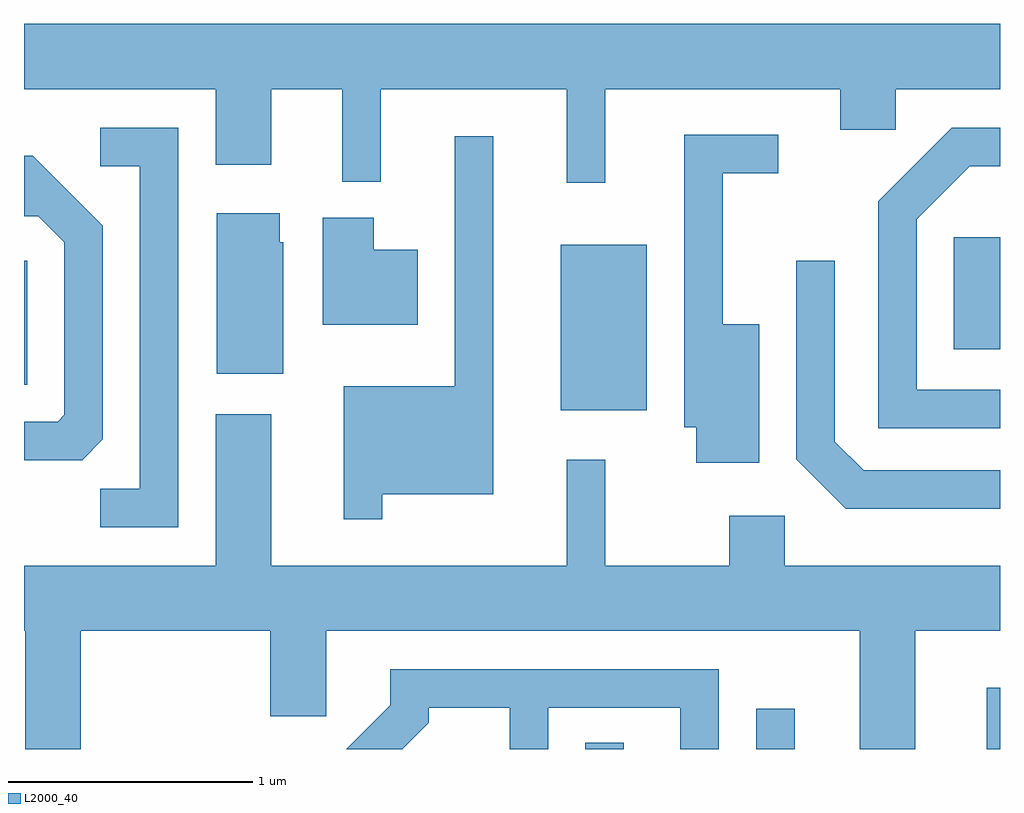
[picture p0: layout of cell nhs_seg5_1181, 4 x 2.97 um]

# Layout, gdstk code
import gdstk
lib = gdstk.Library(unit=1e-6, precision=1e-09)
def R(c, l, rs):  # rectangles x0, y0, x1, y1
    for r in rs: c.add(gdstk.rectangle(r[:2], r[2:], *l))
def P(c, l, *ps):  # polygons
    for p in ps: c.add(gdstk.Polygon(p, *l))
L2000_40 = (2000, 40)

nhs_seg5_1181 = lib.new_cell('nhs_seg5_1181')
R(nhs_seg5_1181, L2000_40, [(221.911,1474.072,222.069,1474.098), (222.611,1474.072,222.769,1474.238), (223.556,1474.072,223.611,1474.324), (221.811,1475.461,222.164,1476.139), (219.611,1475.566,219.624,1476.073), (223.421,1475.711,223.611,1476.169)])
P(nhs_seg5_1181, L2000_40, [(221.994,1476.776),(222.956,1476.776),(222.956,1476.611),(223.184,1476.611),(223.184,1476.776),(223.611,1476.776),(223.611,1477.044),(219.611,1477.044),(219.611,1476.776),(220.396,1476.776),(220.396,1476.466),(220.624,1476.466),(220.624,1476.776),(220.916,1476.776),(220.916,1476.398),(221.074,1476.398),(221.074,1476.776),(221.836,1476.776),(221.836,1476.393),(221.994,1476.393)],
  [(223.611,1475.544),(223.269,1475.544),(223.269,1476.244),(223.487,1476.461),(223.611,1476.461),(223.611,1476.619),(223.414,1476.619),(223.111,1476.317),(223.111,1475.386),(223.611,1475.386)],
  [(220.244,1476.619),(219.923,1476.619),(219.923,1476.461),(220.086,1476.461),(220.086,1475.139),(219.923,1475.139),(219.923,1474.981),(220.244,1474.981)],
  [(222.624,1475.814),(222.474,1475.814),(222.474,1476.431),(222.703,1476.431),(222.703,1476.589),(222.316,1476.589),(222.316,1475.391),(222.366,1475.391),(222.366,1475.246),(222.624,1475.246)],
  [(221.079,1475.116),(221.534,1475.116),(221.534,1476.583),(221.376,1476.583),(221.376,1475.559),(220.921,1475.559),(220.921,1475.013),(221.079,1475.013)],
  [(219.934,1475.342),(219.934,1476.217),(219.647,1476.504),(219.611,1476.504),(219.611,1476.256),(219.669,1476.256),(219.776,1476.149),(219.776,1475.442),(219.749,1475.414),(219.611,1475.414),(219.611,1475.256),(219.849,1475.256)],
  [(220.674,1476.15),(220.659,1476.15),(220.659,1476.269),(220.401,1476.269),(220.401,1475.611),(220.674,1475.611)],
  [(221.224,1476.119),(221.044,1476.119),(221.044,1476.249),(220.836,1476.249),(220.836,1475.811),(221.224,1475.811)],
  [(223.611,1475.214),(223.052,1475.214),(222.934,1475.332),(222.934,1476.073),(222.776,1476.073),(222.776,1475.259),(222.979,1475.056),(223.611,1475.056)],
  [(219.844,1474.556),(220.621,1474.556),(220.621,1474.206),(220.849,1474.206),(220.849,1474.556),(223.036,1474.556),(223.036,1474.072),(223.264,1474.072),(223.264,1474.556),(223.611,1474.556),(223.611,1474.824),(222.729,1474.824),(222.729,1475.029),(222.501,1475.029),(222.501,1474.824),(221.994,1474.824),(221.994,1475.258),(221.836,1475.258),(221.836,1474.824),(220.624,1474.824),(220.624,1475.444),(220.396,1475.444),(220.396,1474.824),(219.611,1474.824),(219.611,1474.556),(219.616,1474.556),(219.616,1474.072),(219.844,1474.072)],
  [(221.269,1474.179),(221.269,1474.241),(221.601,1474.241),(221.601,1474.072),(221.759,1474.072),(221.759,1474.241),(222.301,1474.241),(222.301,1474.072),(222.459,1474.072),(222.459,1474.399),(221.111,1474.399),(221.111,1474.252),(220.932,1474.072),(221.162,1474.072)])

lib.write_gds('nhs_seg5_1181.gds')
